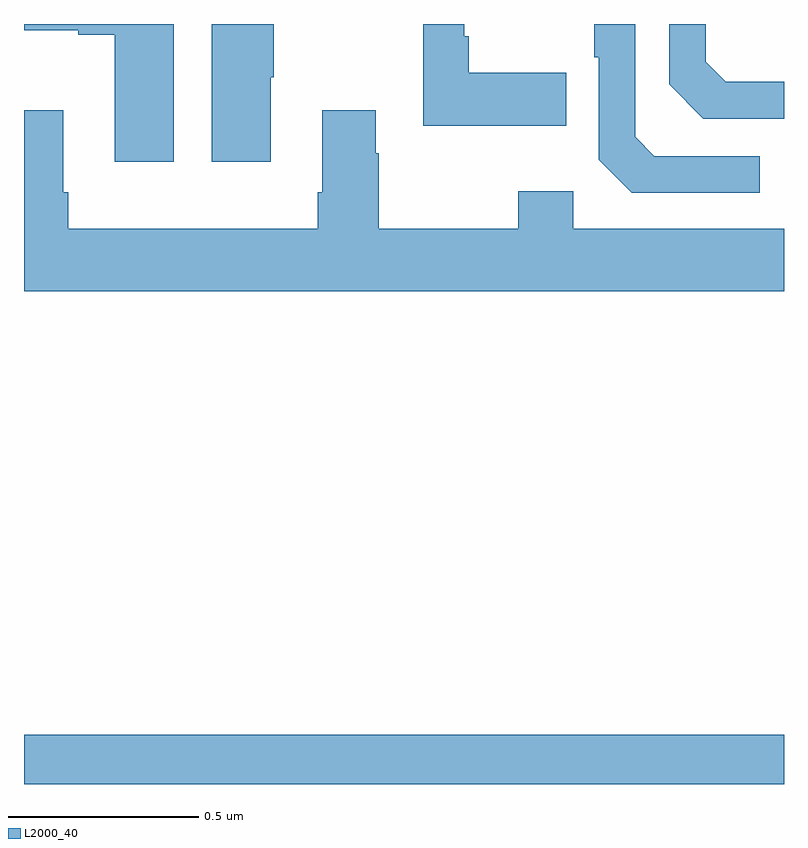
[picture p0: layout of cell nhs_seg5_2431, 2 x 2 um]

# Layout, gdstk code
import gdstk
lib = gdstk.Library(unit=1e-6, precision=1e-09)
def R(c, l, rs):  # rectangles x0, y0, x1, y1
    for r in rs: c.add(gdstk.rectangle(r[:2], r[2:], *l))
def P(c, l, *ps):  # polygons
    for p in ps: c.add(gdstk.Polygon(p, *l))
L2000_40 = (2000, 40)

nhs_seg5_2431 = lib.new_cell('nhs_seg5_2431')
R(nhs_seg5_2431, L2000_40, [(144,852.799,146,852.928)])
P(nhs_seg5_2431, L2000_40, [(144.649,854.659),(144.657,854.659),(144.657,854.799),(144.494,854.799),(144.494,854.436),(144.649,854.436)],
  [(144.394,854.799),(144,854.799),(144,854.783),(144.143,854.783),(144.143,854.771),(144.239,854.771),(144.239,854.436),(144.394,854.436)],
  [(146,854.647),(145.847,854.647),(145.794,854.7),(145.794,854.799),(145.698,854.799),(145.698,854.64),(145.788,854.55),(146,854.55)],
  [(145.427,854.671),(145.171,854.671),(145.171,854.767),(145.158,854.767),(145.158,854.799),(145.05,854.799),(145.05,854.531),(145.427,854.531)],
  [(145.936,854.451),(145.659,854.451),(145.608,854.502),(145.608,854.799),(145.5,854.799),(145.5,854.711),(145.512,854.711),(145.512,854.442),(145.599,854.355),(145.936,854.355)],
  [(146,854.26),(145.446,854.26),(145.446,854.359),(145.3,854.359),(145.3,854.26),(144.933,854.26),(144.933,854.459),(144.925,854.459),(144.925,854.572),(144.785,854.572),(144.785,854.356),(144.773,854.356),(144.773,854.26),(144.116,854.26),(144.116,854.356),(144.103,854.356),(144.103,854.572),(144,854.572),(144,854.096),(146,854.096)])

lib.write_gds('nhs_seg5_2431.gds')
